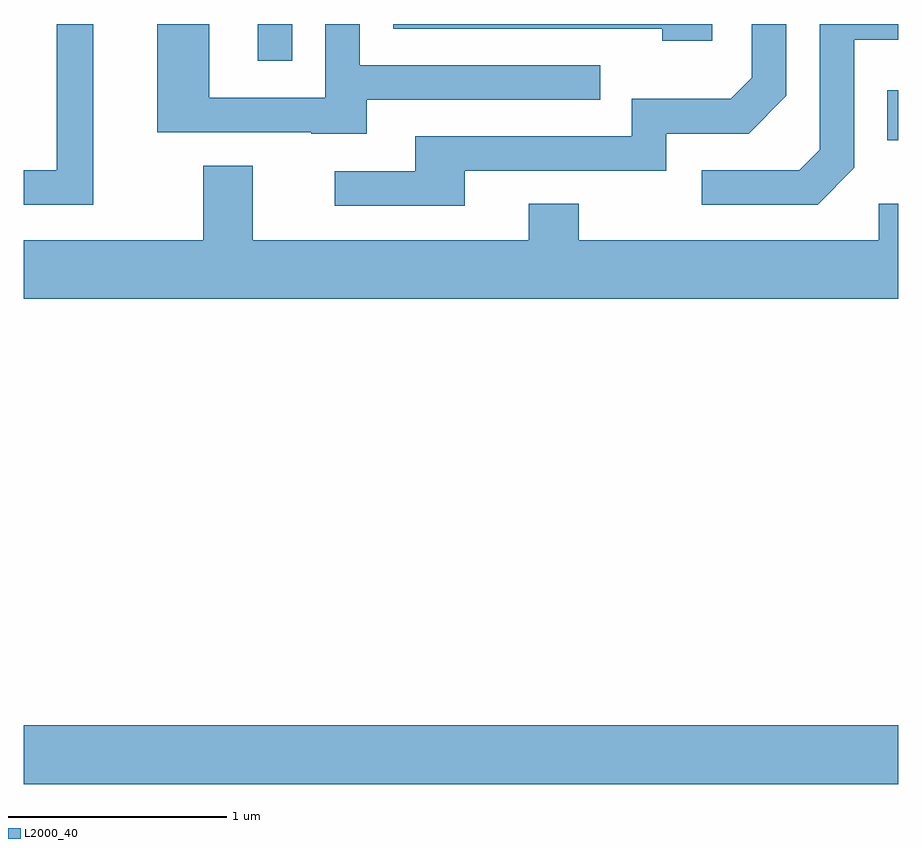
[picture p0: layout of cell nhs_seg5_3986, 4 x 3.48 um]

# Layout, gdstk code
import gdstk
lib = gdstk.Library(unit=1e-6, precision=1e-09)
def R(c, l, rs):  # rectangles x0, y0, x1, y1
    for r in rs: c.add(gdstk.rectangle(r[:2], r[2:], *l))
def P(c, l, *ps):  # polygons
    for p in ps: c.add(gdstk.Polygon(p, *l))
L2000_40 = (2000, 40)

nhs_seg5_3986 = lib.new_cell('nhs_seg5_3986')
R(nhs_seg5_3986, L2000_40, [(303.611,1434.596,307.611,1434.864), (307.561,1437.541,307.611,1437.769), (304.681,1437.903,304.839,1438.072)])
P(nhs_seg5_3986, L2000_40, [(305.179,1437.726),(306.248,1437.726),(306.248,1437.884),(305.149,1437.884),(305.149,1438.072),(304.991,1438.072),(304.991,1437.734),(304.459,1437.734),(304.459,1438.072),(304.221,1438.072),(304.221,1437.576),(304.925,1437.576),(304.925,1437.571),(305.179,1437.571)],
  [(306.759,1438.072),(305.301,1438.072),(305.301,1438.051),(306.531,1438.051),(306.531,1437.996),(306.759,1437.996)],
  [(305.629,1437.401),(306.549,1437.401),(306.549,1437.571),(306.927,1437.571),(307.099,1437.744),(307.099,1438.072),(306.941,1438.072),(306.941,1437.827),(306.844,1437.729),(306.391,1437.729),(306.391,1437.559),(305.401,1437.559),(305.401,1437.399),(305.033,1437.399),(305.033,1437.241),(305.629,1437.241)],
  [(303.929,1438.072),(303.761,1438.072),(303.761,1437.404),(303.611,1437.404),(303.611,1437.246),(303.929,1437.246)],
  [(307.409,1437.414),(307.409,1438.001),(307.611,1438.001),(307.611,1438.072),(307.251,1438.072),(307.251,1437.497),(307.159,1437.404),(306.713,1437.404),(306.713,1437.246),(307.242,1437.246)],
  [(307.611,1437.249),(307.521,1437.249),(307.521,1437.084),(306.149,1437.084),(306.149,1437.249),(305.921,1437.249),(305.921,1437.084),(304.659,1437.084),(304.659,1437.424),(304.431,1437.424),(304.431,1437.084),(303.611,1437.084),(303.611,1436.816),(307.611,1436.816)])

lib.write_gds('nhs_seg5_3986.gds')
